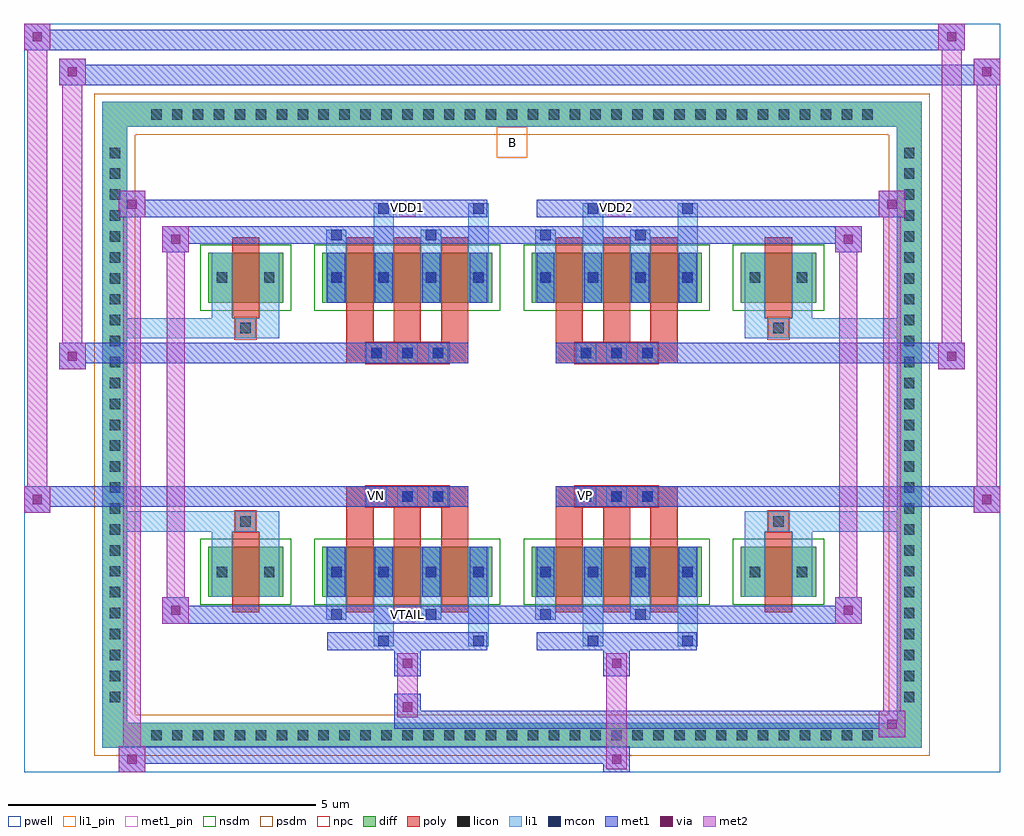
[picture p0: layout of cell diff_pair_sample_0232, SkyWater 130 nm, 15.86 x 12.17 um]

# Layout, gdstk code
import gdstk
lib = gdstk.Library(unit=1e-6, precision=5e-09)
def R(c, l, rs):  # rectangles x0, y0, x1, y1
    for r in rs: c.add(gdstk.rectangle(r[:2], r[2:], *l))
def A(c, l, x, y, w, h, nx, ny, dx, dy):  # array of equal rectangles
    R(c, l, [(x+i*dx, y+j*dy, x+i*dx+w, y+j*dy+h) for i in range(nx) for j in range(ny)])
def P(c, l, *ps):  # polygons
    for p in ps: c.add(gdstk.Polygon(p, *l))
pwell = (64, 44)
diff = (65, 20)
poly = (66, 20)
licon = (66, 44)
li1_pin = (67, 16)
li1 = (67, 20)
mcon = (67, 44)
met1_pin = (68, 16)
met1 = (68, 20)
via = (68, 44)
met2 = (69, 20)
nsdm = (93, 44)
psdm = (94, 20)
npc = (95, 20)

diff_pair_sample_0232 = lib.new_cell('diff_pair_sample_0232')
R(diff_pair_sample_0232, pwell, [(-7.93,-5.65,7.93,6.52), (-5.25,-3.84,-0.01,-0.8), (0.01,-3.84,5.25,-0.8), (-5.25,0.8,-0.01,3.84), (0.01,0.8,5.25,3.84)])
A(diff_pair_sample_0232, diff, -5.985, -5.25, 0.41, 0.41, 35, 2, 0.34, 10.09)
A(diff_pair_sample_0232, diff, -6.66, -4.625, 0.41, 0.41, 1, 27, 0, 0.34)
A(diff_pair_sample_0232, diff, 6.25, -4.625, 0.41, 0.41, 1, 27, 0, 0.34)
R(diff_pair_sample_0232, diff, [(-5.985,-5.25,5.985,-4.84), (-6.66,-4.625,-6.25,4.625), (6.25,-4.625,6.66,4.625), (-4.94,-2.795,-3.72,-1.985), (-3.08,-2.795,-0.32,-1.985), (0.32,-2.795,3.08,-1.985), (3.72,-2.795,4.94,-1.985), (-4.94,1.985,-3.72,2.795), (-3.08,1.985,-0.32,2.795), (0.32,1.985,3.08,2.795), (3.72,1.985,4.94,2.795), (-5.985,4.84,5.985,5.25)])
P(diff_pair_sample_0232, diff, [(6.66,5.25),(-6.66,5.25),(-6.66,-4.84),(-6.25,-4.84),(-6.25,4.84),(6.25,4.84),(6.25,-4.84),(-6.25,-4.84),(-6.66,-4.84),(-6.66,-5.25),(6.66,-5.25)])
A(diff_pair_sample_0232, poly, -2.69, -3.045, 0.44, 1.31, 3, 2, 0.77, 4.78)
A(diff_pair_sample_0232, poly, 0.71, -3.045, 0.44, 1.31, 3, 2, 0.77, 4.78)
A(diff_pair_sample_0232, poly, -2.69, -1.735, 0.44, 0.405, 3, 2, 0.77, 3.065)
A(diff_pair_sample_0232, poly, 0.71, -1.735, 0.44, 0.405, 3, 2, 0.77, 3.065)
A(diff_pair_sample_0232, poly, -2.365, -1.33, 0.33, 0.33, 3, 2, 0.5, 2.33)
A(diff_pair_sample_0232, poly, 1.035, -1.33, 0.33, 0.33, 3, 2, 0.5, 2.33)
R(diff_pair_sample_0232, poly, [(-4.55,-3.045,-4.11,-1.735), (4.11,-3.045,4.55,-1.735), (-4.495,-1.735,-4.165,-1.405), (-4.495,-1.735,-4.165,-1.405), (4.165,-1.735,4.495,-1.405), (4.165,-1.735,4.495,-1.405), (-2.69,-1.33,-0.71,-1), (0.71,-1.33,2.69,-1), (-2.69,1,-0.71,1.33), (0.71,1,2.69,1.33), (-4.495,1.405,-4.165,1.735), (-4.495,1.405,-4.165,1.735), (4.165,1.405,4.495,1.735), (4.165,1.405,4.495,1.735), (-4.55,1.735,-4.11,3.045), (4.11,1.735,4.55,3.045)])
A(diff_pair_sample_0232, licon, -5.865, -5.13, 0.17, 0.17, 35, 2, 0.34, 10.09)
A(diff_pair_sample_0232, licon, -6.54, -4.505, 0.17, 0.17, 1, 27, 0, 0.34)
A(diff_pair_sample_0232, licon, 6.37, -4.505, 0.17, 0.17, 1, 27, 0, 0.34)
A(diff_pair_sample_0232, licon, -2.94, -2.475, 0.17, 0.17, 4, 2, 0.77, 4.78)
A(diff_pair_sample_0232, licon, 0.46, -2.475, 0.17, 0.17, 4, 2, 0.77, 4.78)
A(diff_pair_sample_0232, licon, -2.285, -1.25, 0.17, 0.17, 3, 2, 0.5, 2.33)
A(diff_pair_sample_0232, licon, 1.115, -1.25, 0.17, 0.17, 3, 2, 0.5, 2.33)
R(diff_pair_sample_0232, licon, [(-4.8,-2.475,-4.63,-2.305), (-4.03,-2.475,-3.86,-2.305), (3.86,-2.475,4.03,-2.305), (4.63,-2.475,4.8,-2.305), (-4.415,-1.655,-4.245,-1.485), (4.245,-1.655,4.415,-1.485), (-4.415,1.485,-4.245,1.655), (4.245,1.485,4.415,1.655), (-4.8,2.305,-4.63,2.475), (-4.03,2.305,-3.86,2.475), (3.86,2.305,4.03,2.475), (4.63,2.305,4.8,2.475)])
R(diff_pair_sample_0232, li1_pin, [(-0.25,4.34,0.25,4.84)])
A(diff_pair_sample_0232, li1, -5.945, -5.21, 0.33, 0.33, 35, 2, 0.34, 10.09)
A(diff_pair_sample_0232, li1, -6.62, -4.585, 0.33, 0.33, 1, 27, 0, 0.34)
A(diff_pair_sample_0232, li1, 6.29, -4.585, 0.33, 0.33, 1, 27, 0, 0.34)
A(diff_pair_sample_0232, li1, -3.02, -2.795, 0.33, 0.81, 4, 2, 0.77, 4.78)
A(diff_pair_sample_0232, li1, 0.38, -2.795, 0.33, 0.81, 4, 2, 0.77, 4.78)
A(diff_pair_sample_0232, li1, -3.02, -2.555, 0.33, 0.33, 4, 2, 0.77, 4.78)
A(diff_pair_sample_0232, li1, 0.38, -2.555, 0.33, 0.33, 4, 2, 0.77, 4.78)
A(diff_pair_sample_0232, li1, -2.365, -1.33, 0.33, 0.33, 3, 2, 0.5, 2.33)
A(diff_pair_sample_0232, li1, 1.035, -1.33, 0.33, 0.33, 3, 2, 0.5, 2.33)
R(diff_pair_sample_0232, li1, [(-6.66,-5.25,-6.25,-4.84), (-6.66,-5.25,-6.25,-4.84), (-6.25,-5.25,6.25,-4.84), (6.25,-5.25,6.66,-4.84), (6.25,-5.25,6.66,-4.84), (-6.66,-4.84,-6.25,4.84), (6.25,-4.84,6.66,4.84), (-2.25,-3.6,-1.92,-2.795), (-2.17,-3.6,-2,-3.43), (-0.71,-3.6,-0.38,-2.795), (-0.63,-3.6,-0.46,-3.43), (1.15,-3.6,1.48,-2.795), (1.23,-3.6,1.4,-3.43), (2.69,-3.6,3.02,-2.795), (2.77,-3.6,2.94,-3.43), (-3.02,-3.17,-2.69,-2.795), (-2.94,-3.17,-2.77,-3), (-1.48,-3.17,-1.15,-2.795), (-1.4,-3.17,-1.23,-3), (0.38,-3.17,0.71,-2.795), (0.46,-3.17,0.63,-3), (1.92,-3.17,2.25,-2.795), (2,-3.17,2.17,-3), (-4.88,-2.795,-4.55,-1.985), (-4.11,-2.795,-3.78,-1.985), (3.78,-2.795,4.11,-1.985), (4.55,-2.795,4.88,-1.985), (-4.88,-2.555,-4.55,-2.225), (-4.11,-2.555,-3.78,-2.225), (3.78,-2.555,4.11,-2.225), (4.55,-2.555,4.88,-2.225), (-2.94,-2.475,-2.77,-2.305), (-2.94,-2.475,-2.77,-2.305), (-2.17,-2.475,-2,-2.305), (-2.17,-2.475,-2,-2.305), (-1.4,-2.475,-1.23,-2.305), (-1.4,-2.475,-1.23,-2.305), (-0.63,-2.475,-0.46,-2.305), (-0.63,-2.475,-0.46,-2.305), (0.46,-2.475,0.63,-2.305), (0.46,-2.475,0.63,-2.305), (1.23,-2.475,1.4,-2.305), (1.23,-2.475,1.4,-2.305), (2,-2.475,2.17,-2.305), (2,-2.475,2.17,-2.305), (2.77,-2.475,2.94,-2.305), (2.77,-2.475,2.94,-2.305), (-4.88,-1.985,-4.55,-1.405), (-4.11,-1.985,-3.78,-1.405), (3.78,-1.985,4.11,-1.405), (4.55,-1.985,4.88,-1.405), (-6.66,-1.735,-4.495,-1.405), (-4.88,-1.735,-4.495,-1.405), (-4.495,-1.735,-4.165,-1.405), (-4.165,-1.735,-3.78,-1.405), (3.78,-1.735,4.165,-1.405), (4.165,-1.735,4.495,-1.405), (4.165,-1.735,6.66,-1.405), (4.495,-1.735,4.88,-1.405), (-6.66,1.405,-4.495,1.735), (-4.88,1.405,-4.495,1.735), (-4.88,1.405,-4.55,1.985), (-4.495,1.405,-4.165,1.735), (-4.165,1.405,-3.78,1.735), (-4.11,1.405,-3.78,1.985), (3.78,1.405,4.165,1.735), (3.78,1.405,4.11,1.985), (4.165,1.405,4.495,1.735), (4.165,1.405,6.66,1.735), (4.495,1.405,4.88,1.735), (4.55,1.405,4.88,1.985), (-4.88,1.985,-4.55,2.795), (-4.11,1.985,-3.78,2.795), (3.78,1.985,4.11,2.795), (4.55,1.985,4.88,2.795), (-4.88,2.225,-4.55,2.555), (-4.11,2.225,-3.78,2.555), (3.78,2.225,4.11,2.555), (4.55,2.225,4.88,2.555), (-2.94,2.305,-2.77,2.475), (-2.94,2.305,-2.77,2.475), (-2.17,2.305,-2,2.475), (-2.17,2.305,-2,2.475), (-1.4,2.305,-1.23,2.475), (-1.4,2.305,-1.23,2.475), (-0.63,2.305,-0.46,2.475), (-0.63,2.305,-0.46,2.475), (0.46,2.305,0.63,2.475), (0.46,2.305,0.63,2.475), (1.23,2.305,1.4,2.475), (1.23,2.305,1.4,2.475), (2,2.305,2.17,2.475), (2,2.305,2.17,2.475), (2.77,2.305,2.94,2.475), (2.77,2.305,2.94,2.475), (-3.02,2.795,-2.69,3.17), (-2.25,2.795,-1.92,3.6), (-1.48,2.795,-1.15,3.17), (-0.71,2.795,-0.38,3.6), (0.38,2.795,0.71,3.17), (1.15,2.795,1.48,3.6), (1.92,2.795,2.25,3.17), (2.69,2.795,3.02,3.6), (-2.94,3,-2.77,3.17), (-1.4,3,-1.23,3.17), (0.46,3,0.63,3.17), (2,3,2.17,3.17), (-2.17,3.43,-2,3.6), (-0.63,3.43,-0.46,3.6), (1.23,3.43,1.4,3.6), (2.77,3.43,2.94,3.6), (-6.66,4.84,-6.25,5.25), (-6.66,4.84,-6.25,5.25), (-6.25,4.84,6.25,5.25), (6.25,4.84,6.66,5.25), (6.25,4.84,6.66,5.25)])
A(diff_pair_sample_0232, mcon, -2.94, -2.475, 0.17, 0.17, 4, 2, 0.77, 4.78)
A(diff_pair_sample_0232, mcon, 0.46, -2.475, 0.17, 0.17, 4, 2, 0.77, 4.78)
A(diff_pair_sample_0232, mcon, -2.285, -1.25, 0.17, 0.17, 3, 2, 0.5, 2.33)
A(diff_pair_sample_0232, mcon, 1.115, -1.25, 0.17, 0.17, 3, 2, 0.5, 2.33)
R(diff_pair_sample_0232, mcon, [(-2.17,-3.6,-2,-3.43), (-0.63,-3.6,-0.46,-3.43), (1.23,-3.6,1.4,-3.43), (2.77,-3.6,2.94,-3.43), (-2.94,-3.17,-2.77,-3), (-1.4,-3.17,-1.23,-3), (0.46,-3.17,0.63,-3), (2,-3.17,2.17,-3), (-2.94,3,-2.77,3.17), (-1.4,3,-1.23,3.17), (0.46,3,0.63,3.17), (2,3,2.17,3.17), (-2.17,3.43,-2,3.6), (-0.63,3.43,-0.46,3.6), (1.23,3.43,1.4,3.6), (2.77,3.43,2.94,3.6)])
R(diff_pair_sample_0232, met1_pin, [(-1.835,-3.21,-1.565,-2.94), (-2.335,-1.29,-2.065,-1.02), (1.065,-1.29,1.335,-1.02), (-1.835,3.39,-1.565,3.66), (1.565,3.39,1.835,3.66)])
A(diff_pair_sample_0232, met1, -3, -2.795, 0.29, 0.81, 4, 2, 0.77, 4.78)
A(diff_pair_sample_0232, met1, 0.4, -2.795, 0.29, 0.81, 4, 2, 0.77, 4.78)
A(diff_pair_sample_0232, met1, -3, -2.535, 0.29, 0.29, 4, 2, 0.77, 4.78)
A(diff_pair_sample_0232, met1, 0.4, -2.535, 0.29, 0.29, 4, 2, 0.77, 4.78)
A(diff_pair_sample_0232, met1, -2.345, -1.31, 0.29, 0.29, 3, 2, 0.5, 2.33)
A(diff_pair_sample_0232, met1, 1.055, -1.31, 0.29, 0.29, 3, 2, 0.5, 2.33)
R(diff_pair_sample_0232, met1, [(-6.39,-5.65,-5.96,-5.22), (1.485,-5.65,1.915,-5.22), (-6.39,-5.51,1.915,-5.22), (5.96,-5.08,6.39,-4.65), (-1.915,-4.94,6.39,-4.65), (-1.915,-4.8,-1.485,-4.37), (-1.915,-4.09,-1.485,-3.66), (1.485,-4.09,1.915,-3.66), (-3,-3.66,-0.4,-3.37), (-2.23,-3.66,-1.94,-3.37), (-0.69,-3.66,-0.4,-3.37), (0.4,-3.66,3,-3.37), (1.17,-3.66,1.46,-3.37), (2.71,-3.66,3,-3.37), (-5.68,-3.23,-5.25,-2.8), (-5.68,-3.23,-3,-2.94), (-3,-3.23,-2.71,-2.94), (-3,-3.23,-0.4,-2.94), (-1.46,-3.23,-1.17,-2.94), (-0.4,-3.23,0.4,-2.94), (0.4,-3.23,0.69,-2.94), (0.4,-3.23,3,-2.94), (1.94,-3.23,2.23,-2.94), (3,-3.23,5.68,-2.94), (5.25,-3.23,5.68,-2.8), (-7.93,-1.43,-7.5,-1), (7.5,-1.43,7.93,-1), (-7.93,-1.33,-0.71,-1), (-2.69,-1.33,-0.71,-1), (0.71,-1.33,2.69,-1), (0.71,-1.33,7.93,-1), (-7.36,0.9,-6.93,1.33), (6.93,0.9,7.36,1.33), (-7.36,1,-2.69,1.33), (-2.69,1,-0.71,1.33), (0.71,1,2.69,1.33), (2.69,1,7.36,1.33), (-5.68,2.8,-5.25,3.23), (5.25,2.8,5.68,3.23), (-5.68,2.94,-3,3.23), (-3,2.94,-2.71,3.23), (-3,2.94,-0.4,3.23), (-1.46,2.94,-1.17,3.23), (-0.4,2.94,0.4,3.23), (0.4,2.94,0.69,3.23), (0.4,2.94,3,3.23), (1.94,2.94,2.23,3.23), (3,2.94,5.68,3.23), (-6.39,3.37,-5.96,3.8), (-6.39,3.37,-3,3.66), (-3,3.37,-0.4,3.66), (-2.23,3.37,-1.94,3.66), (-0.69,3.37,-0.4,3.66), (0.4,3.37,3,3.66), (1.17,3.37,1.46,3.66), (2.71,3.37,3,3.66), (3,3.37,6.39,3.66), (5.96,3.37,6.39,3.8), (-7.36,5.52,-6.93,5.95), (-7.36,5.52,-5.25,5.85), (-5.25,5.52,5.25,5.85), (5.25,5.52,7.93,5.85), (7.5,5.52,7.93,5.95), (-7.93,6.09,-7.5,6.52), (-7.93,6.09,-5.25,6.42), (-5.25,6.09,5.25,6.42), (5.25,6.09,7.36,6.42), (6.93,6.09,7.36,6.52)])
R(diff_pair_sample_0232, via, [(-6.25,-5.51,-6.1,-5.36), (1.625,-5.51,1.775,-5.36), (6.1,-4.94,6.25,-4.79), (-1.775,-4.66,-1.625,-4.51), (-1.775,-3.95,-1.625,-3.8), (1.625,-3.95,1.775,-3.8), (-5.54,-3.09,-5.39,-2.94), (5.39,-3.09,5.54,-2.94), (-7.79,-1.29,-7.64,-1.14), (7.64,-1.29,7.79,-1.14), (-7.22,1.04,-7.07,1.19), (7.07,1.04,7.22,1.19), (-5.54,2.94,-5.39,3.09), (5.39,2.94,5.54,3.09), (-6.25,3.51,-6.1,3.66), (6.1,3.51,6.25,3.66), (-7.22,5.66,-7.07,5.81), (7.64,5.66,7.79,5.81), (-7.79,6.23,-7.64,6.38), (7.07,6.23,7.22,6.38)])
R(diff_pair_sample_0232, met2, [(-6.39,-5.65,-5.96,-5.22), (-6.32,-5.65,-6.03,3.8), (-6.03,-5.65,-5.96,-5.22), (-6.34,-5.6,-6.01,-5.27), (1.535,-5.6,1.865,-5.27), (1.535,-5.27,1.865,-4.04), (5.96,-5.08,6.39,-4.65), (6.03,-5.08,6.32,3.8), (6.32,-5.08,6.39,-4.65), (6.01,-5.03,6.34,-4.7), (-1.865,-4.75,-1.535,-4.42), (-1.865,-4.42,-1.535,-4.04), (-1.865,-4.04,-1.535,-3.71), (1.535,-4.04,1.865,-3.71), (-5.68,-3.23,-5.25,-2.8), (-5.61,-3.23,-5.32,3.23), (-5.32,-3.23,-5.25,-2.8), (5.25,-3.23,5.68,-2.8), (5.32,-3.23,5.61,3.23), (5.61,-3.23,5.68,-2.8), (-5.63,-3.18,-5.3,-2.85), (5.3,-3.18,5.63,-2.85), (-7.93,-1.43,-7.5,-1), (-7.88,-1.43,-7.55,6.52), (-7.55,-1.43,-7.5,-1), (7.5,-1.43,7.93,-1), (7.55,-1.43,7.88,5.95), (7.88,-1.43,7.93,-1), (-7.88,-1.38,-7.55,-1.05), (7.55,-1.38,7.88,-1.05), (-7.36,0.9,-6.93,1.33), (-7.31,0.9,-6.98,5.95), (-6.98,0.9,-6.93,1.33), (6.93,0.9,7.36,1.33), (6.98,0.9,7.31,6.52), (7.31,0.9,7.36,1.33), (-7.31,0.95,-6.98,1.28), (6.98,0.95,7.31,1.28), (-5.68,2.8,-5.25,3.23), (-5.32,2.8,-5.25,3.23), (5.25,2.8,5.68,3.23), (5.61,2.8,5.68,3.23), (-5.63,2.85,-5.3,3.18), (5.3,2.85,5.63,3.18), (-6.39,3.37,-5.96,3.8), (-6.03,3.37,-5.96,3.8), (5.96,3.37,6.39,3.8), (6.32,3.37,6.39,3.8), (-6.34,3.42,-6.01,3.75), (6.01,3.42,6.34,3.75), (-7.36,5.52,-6.93,5.95), (-6.98,5.52,-6.93,5.95), (7.5,5.52,7.93,5.95), (7.88,5.52,7.93,5.95), (-7.31,5.57,-6.98,5.9), (7.55,5.57,7.88,5.9), (-7.93,6.09,-7.5,6.52), (-7.55,6.09,-7.5,6.52), (6.93,6.09,7.36,6.52), (7.31,6.09,7.36,6.52), (-7.88,6.14,-7.55,6.47), (6.98,6.14,7.31,6.47)])
R(diff_pair_sample_0232, nsdm, [(-5.07,-2.925,-3.59,-1.855), (-3.21,-2.925,-0.19,-1.855), (0.19,-2.925,3.21,-1.855), (3.59,-2.925,5.07,-1.855), (-5.07,1.855,-3.59,2.925), (-3.21,1.855,-0.19,2.925), (0.19,1.855,3.21,2.925), (3.59,1.855,5.07,2.925)])
P(diff_pair_sample_0232, psdm, [(6.79,5.38),(-6.79,5.38),(-6.79,-4.71),(-6.12,-4.71),(-6.12,4.71),(6.12,4.71),(6.12,-4.71),(-6.12,-4.71),(-6.79,-4.71),(-6.79,-5.38),(6.79,-5.38)])
A(diff_pair_sample_0232, npc, -2.385, -1.35, 0.37, 0.37, 3, 2, 0.5, 2.33)
A(diff_pair_sample_0232, npc, 1.015, -1.35, 0.37, 0.37, 3, 2, 0.5, 2.33)
R(diff_pair_sample_0232, npc, [(-4.515,-1.755,-4.145,-1.385), (4.145,-1.755,4.515,-1.385), (-2.385,-1.35,-1.515,-0.98), (-2.385,-1.35,-1.515,-0.98), (-1.885,-1.35,-1.015,-0.98), (-1.885,-1.35,-1.015,-0.98), (1.015,-1.35,1.885,-0.98), (1.015,-1.35,1.885,-0.98), (1.515,-1.35,2.385,-0.98), (1.515,-1.35,2.385,-0.98), (-2.385,0.98,-1.515,1.35), (-2.385,0.98,-1.515,1.35), (-1.885,0.98,-1.015,1.35), (-1.885,0.98,-1.015,1.35), (1.015,0.98,1.885,1.35), (1.015,0.98,1.885,1.35), (1.515,0.98,2.385,1.35), (1.515,0.98,2.385,1.35), (-4.515,1.385,-4.145,1.755), (4.145,1.385,4.515,1.755)])
diff_pair_sample_0232.add(gdstk.Label('VTAIL', (-1.7,-3.075), layer=68, texttype=5))
diff_pair_sample_0232.add(gdstk.Label('VN', (-2.2,-1.155), layer=68, texttype=5))
diff_pair_sample_0232.add(gdstk.Label('VP', (1.2,-1.155), layer=68, texttype=5))
diff_pair_sample_0232.add(gdstk.Label('B', (0,4.59), layer=67, texttype=5))
diff_pair_sample_0232.add(gdstk.Label('VDD2', (1.7,3.525), layer=68, texttype=5))
diff_pair_sample_0232.add(gdstk.Label('VDD1', (-1.7,3.525), layer=68, texttype=5))

lib.write_gds('diff_pair_sample_0232.gds')
